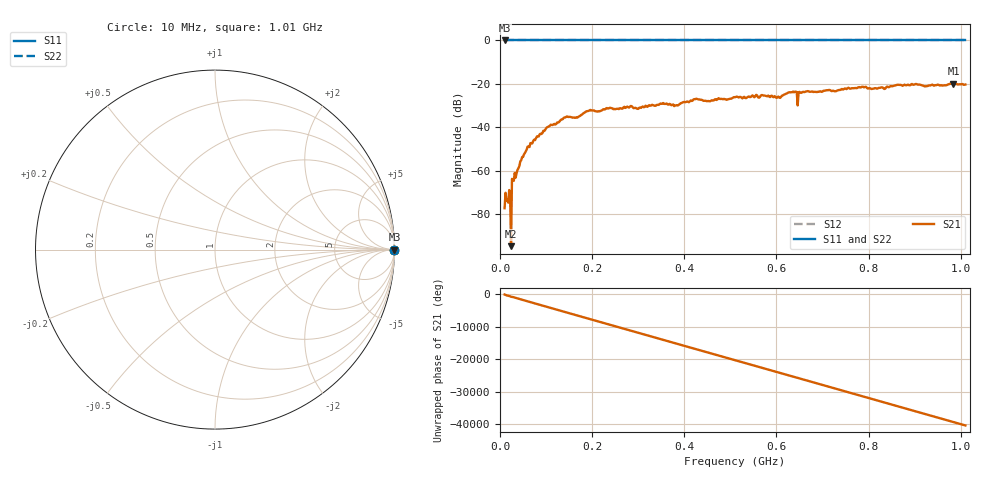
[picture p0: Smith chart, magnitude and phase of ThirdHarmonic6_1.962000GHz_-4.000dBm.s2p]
! 8/16/2025 11:36:36 PM
! C:\ANRITSUVNA\TEMP\TEMP.S2P
! CHANNEL.1
! TR.MEASUREMENT
! RAW.DATA
! RF.CORRECTION.OFF
! AVERAGING.OFF
! IF.BANDWIDTH: 5KHZ
! SWEEPTYPE:  FREQ.SWEEP(Linear)
! Reference Plane Port Info
! PORT:  PORT1  PORT2
! DISTANCE:  0  m  0  m
! TIME:  0  s  0  s
! PHASE.OFFSET:  0  deg.  0  deg.
! LOSS:  0  dB  0  dB
! REF.LOSS:  0  dB  0  dB
! REF.FREQ:  0  Hz  0  Hz
! Power Info
! POWER:  -20  dBm  -20  dBm
! EFF.POWER:  -20  dBm  -20  dBm
! SOURCE.ATTEN:  0  dB  0  dB
! TEST.ATTEN:  0  dB  0  dB
# GHZ S RI R 50.0
! FREQ.GHZ  S11RE  S11IM  S21RE  S21IM  S12RE  S12IM  S22RE  S22IM
!; PortSelection: Port_12
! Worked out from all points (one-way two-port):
!   501 points, 10 MHz to 1.01 GHz, reference 50 ohm
!   highest |S21| = -19.88 dB at 984 MHz (marker M1); lowest = -94.7 dB at 24 MHz (marker M2)
!   lowest |S11| = 0.0 dB at 10 MHz (marker M3)
!   |S11| at or under -10 dB: nowhere
!   |S22| runs from 0.0 to 0.0 dB; largest |S21 - S12| = 1.1
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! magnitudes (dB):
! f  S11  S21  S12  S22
! 10 MHz  0.0  -77.3  0.0  0.0
! 16 MHz  0.0  -73.2  0.0  0.0
! 20 MHz  0.0  -68.9  0.0  0.0
! 24 MHz  0.0  -94.7  0.0  0.0
! 26 MHz  0.0  -63.7  0.0  0.0
! 30 MHz  0.0  -64.6  0.0  0.0
! 48 MHz  0.0  -53.7  0.0  0.0
! 70 MHz  0.0  -47.4  0.0  0.0
! 106 MHz  0.0  -39.6  0.0  0.0
! 142 MHz  0.0  -35.4  0.0  0.0
! 178 MHz  0.0  -34.1  0.0  0.0
! 196 MHz  0.0  -32.0  0.0  0.0
! 344 MHz  0.0  -29.7  0.0  0.0
! 382 MHz  0.0  -29.9  0.0  0.0
! 510 MHz  0.0  -26.1  0.0  0.0
! 604 MHz  0.0  -25.8  0.0  0.0
! 632 MHz  0.0  -23.8  0.0  0.0
! 650 MHz  0.0  -23.7  0.0  0.0
! 678 MHz  0.0  -23.5  0.0  0.0
! 844 MHz  0.0  -21.5  0.0  0.0
! 984 MHz  0.0  -19.9  0.0  0.0
! 1.01 GHz  0.0  -20.3  0.0  0.0
